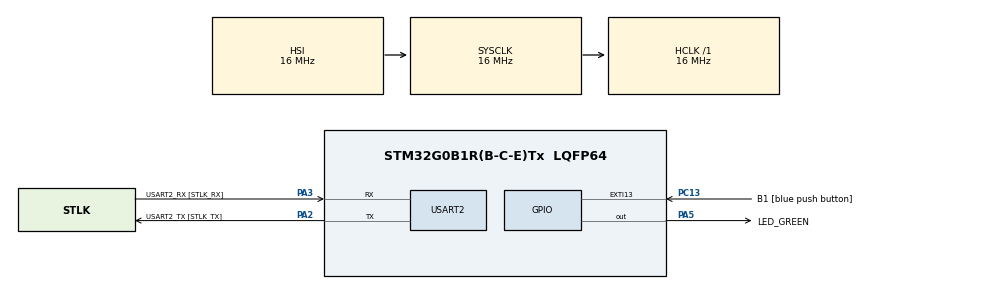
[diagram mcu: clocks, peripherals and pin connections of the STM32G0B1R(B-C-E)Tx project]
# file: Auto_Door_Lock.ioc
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FREERTOS.BinarySemaphores01=DoorSem,Dynamic,NULL,Depleted
FREERTOS.Events01=DoorEventFlags,Dynamic,NULL
FREERTOS.Queues01=SpeedQueue,5,uint32_t,0,Dynamic,NULL,NULL
FREERTOS.Tasks01=defaultTask,24,128,StartDefaultTask,Default,NULL,Dynamic,NULL,NULL;SpeedTask,9,128,StartSpeedTask,Default,NULL,Dynamic,NULL,NULL;DoorStateTask,8,128,StartDoorStateTask,Default,NULL,Dynamic,NULL,NULL;DoorControlTask,24,128,StartDoorControlTask,Default,NULL,Dynamic,NULL,NULL;DoorLockTask,40,128,StartDoorLockTask,Default,NULL,Dynamic,NULL,NULL
FREERTOS.configTOTAL_HEAP_SIZE=15360
FREERTOS.configUSE_NEWLIB_REENTRANT=1
Mcu.Family=STM32G0
Mcu.Name=STM32G0B1R(B-C-E)Tx
Mcu.Package=LQFP64
NVIC.TIM6_DAC_LPTIM1_IRQn=true\:3\:0\:false\:false\:true\:false\:false\:true\:true
NVIC.TimeBase=TIM6_DAC_LPTIM1_IRQn
NVIC.TimeBaseIP=TIM6
PA13.GPIO_Label=TMS
PA13.Mode=Serial_Wire
PA13.Signal=SYS_SWDIO
PA14-BOOT0.GPIO_Label=TCK
PA14-BOOT0.Mode=Serial_Wire
PA14-BOOT0.Signal=SYS_SWCLK
PA2.GPIO_Label=USART2_TX [STLK_TX]
PA2.Mode=Asynchronous
PA2.Signal=USART2_TX
PA3.GPIO_Label=USART2_RX [STLK_RX]
PA3.Mode=Asynchronous
PA3.Signal=USART2_RX
PA5.GPIO_Label=LED_GREEN
PA5.GPIO_Speed=GPIO_SPEED_FREQ_HIGH
PA5.Signal=GPIO_Output
PC13.GPIO_Label=B1 [blue push button]
PC13.Signal=GPXTI13
PC14-OSC32_IN\ (PC14).Mode=LSE-External-Oscillator
PC14-OSC32_IN\ (PC14).Signal=RCC_OSC32_IN
PC15-OSC32_OUT\ (PC15).Mode=LSE-External-Oscillator
PC15-OSC32_OUT\ (PC15).Signal=RCC_OSC32_OUT
PF0-OSC_IN\ (PF0).GPIO_Label=MCO
PF0-OSC_IN\ (PF0).Mode=HSE-External-Clock-Source
PF0-OSC_IN\ (PF0).Signal=RCC_OSC_IN
ProjectManager.HeapSize=0x200
ProjectManager.StackSize=0x400
ProjectManager.TargetToolchain=STM32CubeIDE
RCC.AHBFreq_Value=16000000
RCC.CortexFreq_Value=16000000
RCC.EXTERNAL_CLOCK_VALUE=12288000
RCC.HCLKFreq_Value=16000000
RCC.HSE_VALUE=8000000
RCC.HSI48_VALUE=48000000
RCC.HSI_VALUE=16000000
RCC.SYSCLKFreq_VALUE=16000000
RCC.USBFreq_Value=48000000
RCC.VCOOutputFreq_Value=128000000
USART2.VirtualMode-Asynchronous=VM_ASYNC
VP_FREERTOS_VS_CMSIS_V2.Mode=CMSIS_V2
VP_SYS_VS_DBSignals.Mode=DisableDeadBatterySignals
VP_SYS_VS_tim6.Mode=TIM6
board=NUCLEO-G0B1RE

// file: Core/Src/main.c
/* USER CODE BEGIN Header */
/**
 ******************************************************************************
 * @file           : main.c
 * @brief          : Main program body
 ******************************************************************************
 * @attention
 *
 * Copyright (c) 2026 STMicroelectronics.
 * All rights reserved.
 *
 * This software is licensed under terms that can be found in the LICENSE file
 * in the root directory of this software component.
 * If no LICENSE file comes with this software, it is provided AS-IS.
 *
 ******************************************************************************
 */
/* USER CODE END Header */
#include "main.h"
#include "cmsis_os.h"

/* USER CODE BEGIN Includes */
#include <stdio.h>
#include <string.h>
/* USER CODE END Includes */

/* USER CODE BEGIN PD */
#define SPEED_OK		(1U << 0)
#define DOOR_CLOSED		(1U << 1)
/* USER CODE END PD */

UART_HandleTypeDef huart2;

/* Definitions for defaultTask */
osThreadId_t defaultTaskHandle;
const osThreadAttr_t defaultTask_attributes = {
  .name = "defaultTask",
  .priority = (osPriority_t) osPriorityNormal,
  .stack_size = 128 * 4
};
/* Definitions for SpeedTask */
osThreadId_t SpeedTaskHandle;
const osThreadAttr_t SpeedTask_attributes = {
  .name = "SpeedTask",
  .priority = (osPriority_t) osPriorityLow1,
  .stack_size = 128 * 4
};
/* Definitions for DoorStateTask */
osThreadId_t DoorStateTaskHandle;
const osThreadAttr_t DoorStateTask_attributes = {
  .name = "DoorStateTask",
  .priority = (osPriority_t) osPriorityLow,
  .stack_size = 128 * 4
};
/* Definitions for DoorControlTask */
osThreadId_t DoorControlTaskHandle;
const osThreadAttr_t DoorControlTask_attributes = {
  .name = "DoorControlTask",
  .priority = (osPriority_t) osPriorityNormal,
  .stack_size = 128 * 4
};
/* Definitions for DoorLockTask */
osThreadId_t DoorLockTaskHandle;
const osThreadAttr_t DoorLockTask_attributes = {
  .name = "DoorLockTask",
  .priority = (osPriority_t) osPriorityHigh,
  .stack_size = 128 * 4
};
/* Definitions for SpeedQueue */
osMessageQueueId_t SpeedQueueHandle;
const osMessageQueueAttr_t SpeedQueue_attributes = {
  .name = "SpeedQueue"
};
/* Definitions for DoorSem */
osSemaphoreId_t DoorSemHandle;
const osSemaphoreAttr_t DoorSem_attributes = {
  .name = "DoorSem"
};
/* Definitions for DoorEventFlags */
osEventFlagsId_t DoorEventFlagsHandle;
const osEventFlagsAttr_t DoorEventFlags_attributes = {
  .name = "DoorEventFlags"
};

void SystemClock_Config(void);
static void MX_GPIO_Init(void);
static void MX_USART2_UART_Init(void);
void StartDefaultTask(void *argument);
void StartSpeedTask(void *argument);
void StartDoorStateTask(void *argument);
void StartDoorControlTask(void *argument);
void StartDoorLockTask(void *argument);

/* USER CODE BEGIN 0 */
static void uart_print(const char *s) {
	HAL_UART_Transmit(&huart2, (uint8_t*) s, (uint16_t) strlen(s), 100);
}
/* USER CODE END 0 */

int main(void)
{

  /* MCU Configuration--------------------------------------------------------*/

  /* Reset of all peripherals, Initializes the Flash interface and the Systick. */
  HAL_Init();

  /* Configure the system clock */
  SystemClock_Config();

  /* Initialize all configured peripherals */
  MX_GPIO_Init();
  MX_USART2_UART_Init();

  /* Init scheduler */
  osKernelInitialize();

  /* Create the semaphores(s) */
  /* creation of DoorSem */
  DoorSemHandle = osSemaphoreNew(1, 0, &DoorSem_attributes);

  /* Create the queue(s) */
  /* creation of SpeedQueue */
  SpeedQueueHandle = osMessageQueueNew (5, sizeof(uint32_t), &SpeedQueue_attributes);

  /* Create the thread(s) */
  /* creation of defaultTask */
  defaultTaskHandle = osThreadNew(StartDefaultTask, NULL, &defaultTask_attributes);

  /* creation of SpeedTask */
  SpeedTaskHandle = osThreadNew(StartSpeedTask, NULL, &SpeedTask_attributes);

  /* creation of DoorStateTask */
  DoorStateTaskHandle = osThreadNew(StartDoorStateTask, NULL, &DoorStateTask_attributes);

  /* creation of DoorControlTask */
  DoorControlTaskHandle = osThreadNew(StartDoorControlTask, NULL, &DoorControlTask_attributes);

  /* creation of DoorLockTask */
  DoorLockTaskHandle = osThreadNew(StartDoorLockTask, NULL, &DoorLockTask_attributes);

  /* Create the event(s) */
  /* creation of DoorEventFlags */
  DoorEventFlagsHandle = osEventFlagsNew(&DoorEventFlags_attributes);

  /* Start scheduler */
  osKernelStart();

  /* We should never get here as control is now taken by the scheduler */

  /* Infinite loop */
	while (1) {

	}
}

void SystemClock_Config(void)
{
  RCC_OscInitTypeDef RCC_OscInitStruct = {0};
  RCC_ClkInitTypeDef RCC_ClkInitStruct = {0};

  /** Configure the main internal regulator output voltage
  */
  HAL_PWREx_ControlVoltageScaling(PWR_REGULATOR_VOLTAGE_SCALE1);

  /** Initializes the RCC Oscillators according to the specified parameters
  * in the RCC_OscInitTypeDef structure.
  */
  RCC_OscInitStruct.OscillatorType = RCC_OSCILLATORTYPE_HSI;
  RCC_OscInitStruct.HSIState = RCC_HSI_ON;
  RCC_OscInitStruct.HSIDiv = RCC_HSI_DIV1;
  RCC_OscInitStruct.HSICalibrationValue = RCC_HSICALIBRATION_DEFAULT;
  RCC_OscInitStruct.PLL.PLLState = RCC_PLL_NONE;
  if (HAL_RCC_OscConfig(&RCC_OscInitStruct) != HAL_OK)
  {
    Error_Handler();
  }

  /** Initializes the CPU, AHB and APB buses clocks
  */
  RCC_ClkInitStruct.ClockType = RCC_CLOCKTYPE_HCLK|RCC_CLOCKTYPE_SYSCLK
                              |RCC_CLOCKTYPE_PCLK1;
  RCC_ClkInitStruct.SYSCLKSource = RCC_SYSCLKSOURCE_HSI;
  RCC_ClkInitStruct.AHBCLKDivider = RCC_SYSCLK_DIV1;
  RCC_ClkInitStruct.APB1CLKDivider = RCC_HCLK_DIV1;

  if (HAL_RCC_ClockConfig(&RCC_ClkInitStruct, FLASH_LATENCY_0) != HAL_OK)
  {
    Error_Handler();
  }
}

static void MX_USART2_UART_Init(void)
{

  huart2.Instance = USART2;
  huart2.Init.BaudRate = 115200;
  huart2.Init.WordLength = UART_WORDLENGTH_8B;
  huart2.Init.StopBits = UART_STOPBITS_1;
  huart2.Init.Parity = UART_PARITY_NONE;
  huart2.Init.Mode = UART_MODE_TX_RX;
  huart2.Init.HwFlowCtl = UART_HWCONTROL_NONE;
  huart2.Init.OverSampling = UART_OVERSAMPLING_16;
  huart2.Init.OneBitSampling = UART_ONE_BIT_SAMPLE_DISABLE;
  huart2.Init.ClockPrescaler = UART_PRESCALER_DIV1;
  huart2.AdvancedInit.AdvFeatureInit = UART_ADVFEATURE_NO_INIT;
  if (HAL_UART_Init(&huart2) != HAL_OK)
  {
    Error_Handler();
  }
  if (HAL_UARTEx_SetTxFifoThreshold(&huart2, UART_TXFIFO_THRESHOLD_1_8) != HAL_OK)
  {
    Error_Handler();
  }
  if (HAL_UARTEx_SetRxFifoThreshold(&huart2, UART_RXFIFO_THRESHOLD_1_8) != HAL_OK)
  {
    Error_Handler();
  }
  if (HAL_UARTEx_DisableFifoMode(&huart2) != HAL_OK)
  {
    Error_Handler();
  }

}

static void MX_GPIO_Init(void)
{
  GPIO_InitTypeDef GPIO_InitStruct = {0};

  /* GPIO Ports Clock Enable */
  __HAL_RCC_GPIOC_CLK_ENABLE();
  __HAL_RCC_GPIOF_CLK_ENABLE();
  __HAL_RCC_GPIOA_CLK_ENABLE();

  /*Configure GPIO pin Output Level */
  HAL_GPIO_WritePin(LED_GREEN_GPIO_Port, LED_GREEN_Pin, GPIO_PIN_RESET);

  /*Configure GPIO pin : B1_Pin */
  GPIO_InitStruct.Pin = B1_Pin;
  GPIO_InitStruct.Mode = GPIO_MODE_IT_RISING;
  GPIO_InitStruct.Pull = GPIO_NOPULL;
  HAL_GPIO_Init(B1_GPIO_Port, &GPIO_InitStruct);

  /*Configure GPIO pin : LED_GREEN_Pin */
  GPIO_InitStruct.Pin = LED_GREEN_Pin;
  GPIO_InitStruct.Mode = GPIO_MODE_OUTPUT_PP;
  GPIO_InitStruct.Pull = GPIO_NOPULL;
  GPIO_InitStruct.Speed = GPIO_SPEED_FREQ_HIGH;
  HAL_GPIO_Init(LED_GREEN_GPIO_Port, &GPIO_InitStruct);

}

void StartDefaultTask(void *argument)
{
	for (;;) {
		osDelay(1);
	}
}

void StartSpeedTask(void *argument)
{
  /* USER CODE BEGIN StartSpeedTask */
	uint32_t speed = 0;
	char msg[32];

	/* Infinite loop */
	for (;;) {
		snprintf(msg, sizeof(msg),
				"[Speed] %u km/h \r\n",
				(unsigned int) speed);
		uart_print(msg);

		osMessageQueuePut(SpeedQueueHandle, &speed, 0, 0);

		speed += 3;

		if (speed > 30) {
			speed = 0;
		}

		osDelay(1000);
	}
  /* USER CODE END StartSpeedTask */
}

void StartDoorStateTask(void *argument)
{
  /* USER CODE BEGIN StartDoorStateTask */
	osDelay(3000);

	osSemaphoreRelease(DoorSemHandle);

	uart_print("[DoorState] All Doors Closed \r\n");

	/* Infinite loop */

	for (;;) {
		osDelay(1000);
	}
  /* USER CODE END StartDoorStateTask */
}

void StartDoorControlTask(void *argument)
{
  /* USER CODE BEGIN StartDoorControlTask */
	uint32_t speed;

	/* Infinite loop */
	for (;;) {
		if(osMessageQueueGet(SpeedQueueHandle, &speed, NULL, osWaitForever) == osOK){
			if (speed >= 15) {
				osEventFlagsSet(DoorEventFlagsHandle, SPEED_OK);
			}
		}

		if (osSemaphoreAcquire(DoorSemHandle, 0) == osOK){
			osEventFlagsSet(DoorEventFlagsHandle, DOOR_CLOSED);
		}
	}
  /* USER CODE END StartDoorControlTask */
}

void StartDoorLockTask(void *argument)
{
  /* USER CODE BEGIN StartDoorLockTask */
	uint32_t flags;
	uint32_t currentFlags;
	char msg[64];

	/* Infinite loop */
	for (;;) {
		osEventFlagsWait(DoorEventFlagsHandle,
						SPEED_OK | DOOR_CLOSED,
						osFlagsWaitAll,
						osWaitForever);

		uart_print("[DoorLock] Auto Door Locked \r\n");

		osDelay(1);
	}
  /* USER CODE END StartDoorLockTask */
}

void HAL_TIM_PeriodElapsedCallback(TIM_HandleTypeDef *htim)
{
  if (htim->Instance == TIM6) {
    HAL_IncTick();
  }
}

void Error_Handler(void)
{
	__disable_irq();
	while (1) {
	}
}
